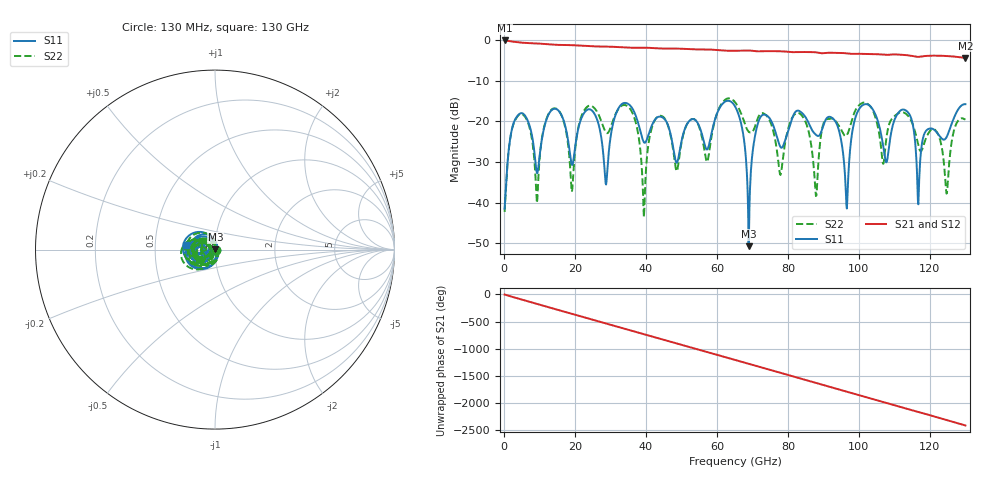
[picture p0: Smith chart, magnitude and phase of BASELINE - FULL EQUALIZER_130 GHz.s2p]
! TOUCHSTONE file generated by CST MICROWAVE STUDIO
! Date and time: Thu Nov 19 09:28:34 2026
! Project name: BASELINE - FULL EQUALIZER.cst
! Parameters = {N_CELL3=7; EL_L3=1.44; BEND_RADIUS=0.1025; BOX_H=0.0047; CAP_H=0.0014; CAP_W=0.002; CLAD_H=0.0036; DEV_L=3.7; DEV_W=1.2; EL_L=2.7; EL_L2=1.44; GAP=0.00445; GAP2=0.0048; ISTANBUL_V1=0; L1=0.02; L2=0.066; L_OFF=0.04; MTX=0.002; N_CELL=14; N_CELL2=7; PITCH=0.18; SI_H=0.525; SLAB_H=0.000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
! Header version: 2024
! Port assignment regex: !\s*Touchstone port\s*([0-9]+)\s*=\s*(CST MWS port|CST DES external port|CST DES block port)\s*(.+)\s* \(\"(.*)\"\)(\s*mode\s*([0-9]+))?.*
! Touchstone port assignment:
! Touchstone port 1 = CST MWS port 1 ("")
! Touchstone port 2 = CST MWS port 2 ("")
# GHz S MA R 50
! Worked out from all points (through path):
!   1000 points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, 130 MHz to 130 GHz, reference 50 ohm
!   highest |S21| = -0.07 dB at 130 MHz (marker M1); lowest = -4.4 dB at 130 GHz (marker M2)
!   group delay of S21, straight-line fit = 51.3 ps
!   lowest |S11| = -50.8 dB at 68.9 GHz (marker M3), VSWR 1.01, Z = 50.3 + j0.0987 ohm
!   |S11| at or under -10 dB: start of sweep to end of sweep
!   |S22| runs from -43.6 to -14.3 dB; largest |S21 - S12| = 0.00069
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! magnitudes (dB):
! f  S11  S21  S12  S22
! 130 MHz  -41.5  -0.1  -0.1  -42.3
! 3.9 GHz  -18.5  -0.5  -0.5  -18.6
! 9.23 GHz  -32.7  -0.8  -0.8  -40.1
! 12.87 GHz  -17.8  -1.0  -1.0  -17.6
! 19.11 GHz  -30.7  -1.2  -1.2  -37.4
! 21.84 GHz  -19.1  -1.4  -1.4  -18.6
! 28.73 GHz  -35.6  -1.6  -1.6  -22.8
! 35.23 GHz  -15.9  -1.9  -1.9  -16.6
! 39.39 GHz  -25.1  -1.8  -1.8  -43.6
! 43.42 GHz  -18.9  -2.0  -2.0  -18.8
! 48.62 GHz  -30.2  -2.1  -2.1  -32.3
! 65.13 GHz  -16.4  -2.6  -2.6  -15.3
! 68.9 GHz  -50.8  -2.5  -2.6  -22.5
! 72.54 GHz  -18.6  -2.7  -2.7  -18.0
! 77.74 GHz  -26.1  -2.7  -2.7  -33.0
! 86.71 GHz  -22.1  -2.9  -2.9  -26.9
! 93.34 GHz  -20.0  -3.1  -3.1  -19.8
! 96.46 GHz  -40.5  -3.2  -3.2  -23.5
! 100.8 GHz  -16.2  -3.4  -3.4  -15.5
! 108.4 GHz  -26.7  -3.6  -3.6  -21.0
! 124.7 GHz  -23.9  -3.9  -3.9  -37.8
! 130 GHz  -15.8  -4.4  -4.4  -19.6
